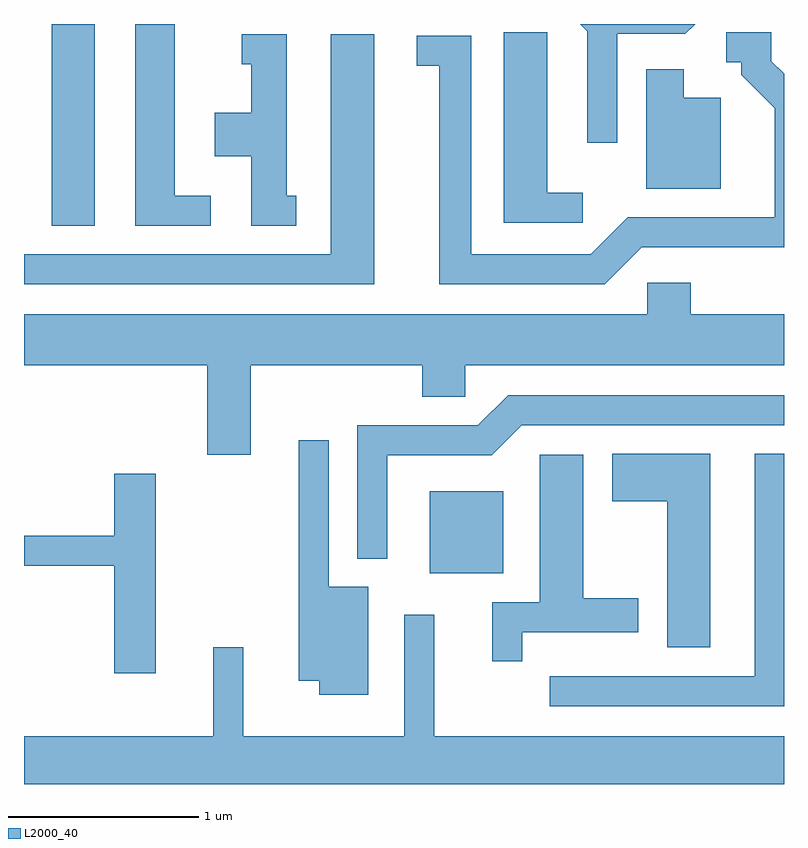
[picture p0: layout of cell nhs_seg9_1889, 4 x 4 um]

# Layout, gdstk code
import gdstk
lib = gdstk.Library(unit=1e-6, precision=1e-09)
def R(c, l, rs):  # rectangles x0, y0, x1, y1
    for r in rs: c.add(gdstk.rectangle(r[:2], r[2:], *l))
def P(c, l, *ps):  # polygons
    for p in ps: c.add(gdstk.Polygon(p, *l))
L2000_40 = (2000, 40)

nhs_seg9_1889 = lib.new_cell('nhs_seg9_1889')
R(nhs_seg9_1889, L2000_40, [(241.746,2059.541,242.134,2059.974), (239.756,2061.371,239.984,2062.432)])
P(nhs_seg9_1889, L2000_40, [(242.734,2062.381),(243.092,2062.381),(243.143,2062.432),(242.538,2062.432),(242.576,2062.394),(242.576,2061.808),(242.734,2061.808)],
  [(240.593,2061.529),(240.404,2061.529),(240.404,2062.432),(240.196,2062.432),(240.196,2061.371),(240.593,2061.371)],
  [(242.553,2061.544),(242.364,2061.544),(242.364,2062.389),(242.136,2062.389),(242.136,2061.386),(242.553,2061.386)],
  [(242.862,2061.256),(243.611,2061.256),(243.611,2062.17),(243.544,2062.237),(243.544,2062.389),(243.308,2062.389),(243.308,2062.231),(243.386,2062.231),(243.386,2062.164),(243.561,2061.989),(243.561,2061.414),(242.789,2061.414),(242.594,2061.219),(241.964,2061.219),(241.964,2062.369),(241.678,2062.369),(241.678,2062.211),(241.796,2062.211),(241.796,2061.061),(242.667,2061.061)],
  [(241.043,2061.529),(240.994,2061.529),(240.994,2062.379),(240.758,2062.379),(240.758,2062.221),(240.806,2062.221),(240.806,2061.964),(240.616,2061.964),(240.616,2061.736),(240.806,2061.736),(240.806,2061.371),(241.043,2061.371)],
  [(241.454,2062.379),(241.226,2062.379),(241.226,2061.219),(239.611,2061.219),(239.611,2061.061),(241.454,2061.061)],
  [(243.279,2062.044),(243.084,2062.044),(243.084,2062.194),(242.886,2062.194),(242.886,2061.566),(243.279,2061.566)],
  [(240.804,2060.636),(241.706,2060.636),(241.706,2060.471),(241.934,2060.471),(241.934,2060.636),(243.611,2060.636),(243.611,2060.904),(243.119,2060.904),(243.119,2061.069),(242.891,2061.069),(242.891,2060.904),(239.611,2060.904),(239.611,2060.636),(240.576,2060.636),(240.576,2060.166),(240.804,2060.166)],
  [(241.524,2060.161),(242.072,2060.161),(242.232,2060.321),(243.611,2060.321),(243.611,2060.479),(242.159,2060.479),(241.999,2060.319),(241.366,2060.319),(241.366,2059.617),(241.524,2059.617)],
  [(241.424,2059.469),(241.214,2059.469),(241.214,2060.242),(241.056,2060.242),(241.056,2058.976),(241.166,2058.976),(241.166,2058.901),(241.424,2058.901)],
  [(243.224,2060.169),(242.706,2060.169),(242.706,2059.921),(242.996,2059.921),(242.996,2059.151),(243.224,2059.151)],
  [(243.611,2060.169),(243.456,2060.169),(243.456,2058.999),(242.378,2058.999),(242.378,2058.841),(243.611,2058.841)],
  [(242.234,2059.231),(242.844,2059.231),(242.844,2059.409),(242.554,2059.409),(242.554,2060.164),(242.326,2060.164),(242.326,2059.389),(242.076,2059.389),(242.076,2059.077),(242.234,2059.077)],
  [(240.304,2060.064),(240.086,2060.064),(240.086,2059.739),(239.611,2059.739),(239.611,2059.581),(240.086,2059.581),(240.086,2059.016),(240.304,2059.016)],
  [(243.611,2058.684),(241.769,2058.684),(241.769,2059.323),(241.611,2059.323),(241.611,2058.684),(240.764,2058.684),(240.764,2059.153),(240.606,2059.153),(240.606,2058.684),(239.611,2058.684),(239.611,2058.432),(243.611,2058.432)])

lib.write_gds('nhs_seg9_1889.gds')
